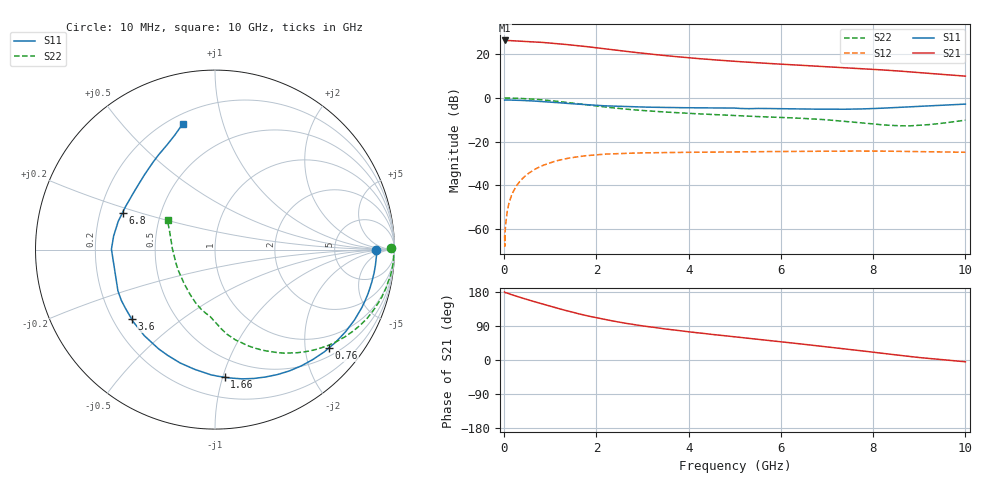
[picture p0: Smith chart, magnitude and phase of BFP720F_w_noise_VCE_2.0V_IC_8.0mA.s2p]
! Infineon Technologies  Discrete & RF Semiconductors
! BFP720F
! VCE =  2.0 V,  IC =  8.0 mA
! Common Emitter S-Parameters:  Jan 2016
# GHz  S  MA  R  50
!  f  S11  S21  S12  S22
! GHz  MAG  ANG  MAG  ANG  MAG  ANG  MAG  ANG
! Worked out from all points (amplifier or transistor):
!   233 points, 10 MHz to 10 GHz, reference 50 ohm
!   highest |S21| = 26.4 dB at 10 MHz (marker M1)
!   |S21| within 3 dB of that: start of sweep to 1.858 GHz
!   unconditionally stable (mu >= 1): start of sweep to 11.88 MHz; 7.124 GHz to end of sweep
!   at 200 MHz: K = 0.05, MSG = 34.5 dB, |S12| = -42.9 dB
!   at 1.74 GHz: K = 0.27, MSG = 25.1 dB, |S12| = -26.5 dB
!   at 10 GHz: K = 1.29, MAG = 14.2 dB, |S12| = -24.9 dB
!   lowest NFmin = 0.50 dB at 450 MHz
!   S11 on the Smith chart (normalised r, x): 10 MHz: 18, -1; 760 MHz: 0.69, -2.53; 1.66 GHz: 0.35, -1.01; 3.6 GHz: 0.28, -0.34; 6.8 GHz: 0.30, +0.18; 10 GHz: 0.25, +0.74
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0.01  0.897 -0.2  20.88 179.5  0.0007 -27.3  0.9823 0.6
0.015  0.8995 -0.6  20.77 178.6  0.0004 37.3  0.99 -0.3
0.02  0.902 -1.0  20.67 177.6  0.0008 89.5  0.998 -1.2
0.05  0.8994 -2.8  20.87 177.3  0.0018 88.0  0.9959 -1.7
0.1  0.8982 -5.4  20.81 175.1  0.0037 86.8  0.9962 -3.5
0.32  0.8855 -17.3  20.15 166.2  0.0115 79.8  0.9794 -11.3
0.76  0.8383 -40.8  19.01 150.2  0.0261 66.1  0.9197 -26.1
0.92  0.817 -49.2  18.5 144.5  0.0306 61.4  0.889 -31.2
1.2  0.7782 -63.5  17.45 135.1  0.0377 53.5  0.829 -39.9
1.4  0.7497 -73.3  16.65 128.7  0.0418 48.3  0.784 -45.6
1.66  0.7133 -85.7  15.65 120.7  0.046 42.2  0.7249 -52.5
1.68  0.7109 -86.7  15.56 120.1  0.0463 41.7  0.7203 -53.1
2.16  0.6631 -105.6  13.54 107.5  0.0513 32.3  0.6272 -63.8
2.56  0.6379 -118.3  12.03 98.5  0.0536 26.2  0.5663 -71.0
3  0.6206 -129.4  10.65 90.0  0.0552 21.3  0.5171 -77.1
3.4  0.6088 -136.7  9.61 83.6  0.056 17.8  0.4842 -80.9
3.6  0.6048 -140.0  9.159 80.5  0.0563 16.2  0.4697 -82.5
4.1  0.5964 -147.0  8.199 73.1  0.0569 13.0  0.4389 -85.8
5.1  0.5779 -161.5  6.828 59.9  0.0582 8.0  0.3919 -91.5
6.8  0.5547 158.2  5.369 37.3  0.0602 0.8  0.3255 -107.1
8.4  0.5989 124.8  4.27 14.8  0.0602 -6.1  0.2353 -149.9
10  0.7245 104.4  3.174 -4.7  0.0569 -9.7  0.3106 148.4
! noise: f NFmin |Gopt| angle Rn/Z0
0.45  0.5  0.36  4  0.12
0.9  0.52  0.34  9  0.16
1.8  0.57  0.32  16  0.15
2.4  0.6  0.29  26  0.14
5.5  0.76  0.28  53  0.08
10  0.98  0.26  -98  0.16
